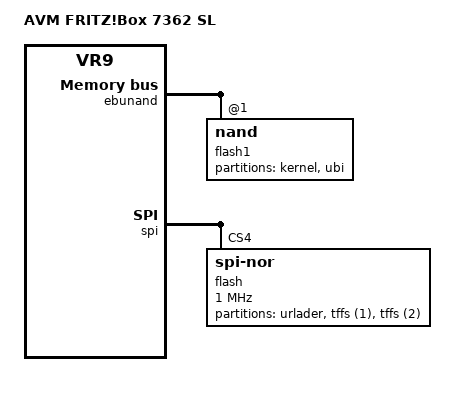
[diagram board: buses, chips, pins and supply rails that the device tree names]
// SPDX-License-Identifier: GPL-2.0-or-later OR MIT

#include "vr9_avm_fritz736x.dtsi"

/ {
	compatible = "avm,fritz7362sl", "avm,fritz736x", "lantiq,xway", "lantiq,vr9";
	model = "AVM FRITZ!Box 7362 SL";
};

&ebunand {
	status = "okay";

	flash1: nand@1 {
		reg = <1>;

		nand-ecc-engine = <&flash1>;

		partitions {
			compatible = "fixed-partitions";
			#address-cells = <1>;
			#size-cells = <1>;

			partition@0 {
				label = "kernel";
				reg = <0x0 0x400000>;
			};

			partition@400000 {
				label = "ubi";
				reg = <0x400000 0x7c00000>;
			};
		};
	};
};

&gpio {
	pinctrl-names = "default";
	pinctrl-0 = <&state_default>;

	state_default: pinmux {
		pcie-rst {
			lantiq,pins = "io21";
			lantiq,pull = <0>;
			lantiq,output = <1>;
		};

		phy-rst {
			lantiq,pins = "io44", "io45";
			lantiq,pull = <0>;
			lantiq,open-drain;
			lantiq,output = <1>;
		};
	};

};

&spi {
	status = "okay";

	flash@4 {
		#address-cells = <1>;
		#size-cells = <1>;
		compatible = "jedec,spi-nor";
		reg = <4>;
		spi-max-frequency = <1000000>;

		partitions {
			compatible = "fixed-partitions";
			#address-cells = <1>;
			#size-cells = <1>;

			urlader: partition@0 {
				reg = <0x0 0x40000>;
				label = "urlader";
				read-only;
			};

			partition@40000 {
				reg = <0x40000 0x60000>;
				label = "tffs (1)";
				read-only;
			};

			partition@A0000 {
				reg = <0xA0000 0x60000>;
				label = "tffs (2)";
				read-only;
			};
		};
	};
};

&pcie0 {
	gpio-reset = <&gpio 21 GPIO_ACTIVE_LOW>;

	pcie@0 {
		#size-cells = <1>;
		#address-cells = <2>;
	};
};

&eth0 {
	nvmem-cells = <&macaddr_urlader_a91>;
	nvmem-cell-names = "mac-address";
	mac-address-increment = <(-2)>;
};

&phy0 {
	reset-gpios = <&gpio 45 GPIO_ACTIVE_LOW>;
};

&phy1 {
	reset-gpios = <&gpio 44 GPIO_ACTIVE_LOW>;
};

&urlader {
	compatible = "nvmem-cells";
	#address-cells = <1>;
	#size-cells = <1>;

	macaddr_urlader_a91: macaddr@a91 {
		reg = <0xa91 0x6>;
	};
};
